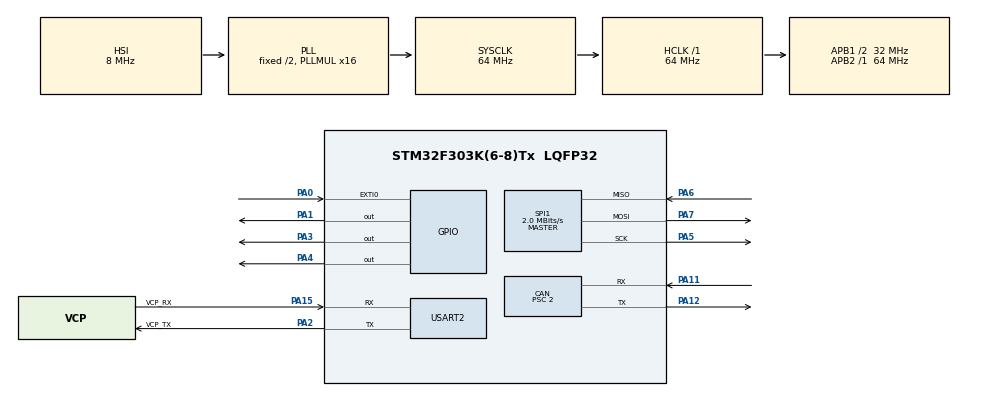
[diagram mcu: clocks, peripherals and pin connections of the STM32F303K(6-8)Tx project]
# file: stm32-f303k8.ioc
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CAN.ABOM=ENABLE
CAN.BS1=CAN_BS1_13TQ
CAN.BS2=CAN_BS2_2TQ
CAN.CalculateBaudRate=1000000
CAN.CalculateTimeBit=1000
CAN.CalculateTimeQuantum=62.5
CAN.Mode=CAN_MODE_NORMAL
CAN.NART=ENABLE
CAN.Prescaler=2
Dma.Request0=SPI1_RX
Dma.SPI1_RX.0.Direction=DMA_PERIPH_TO_MEMORY
Dma.SPI1_RX.0.Instance=DMA1_Channel2
Dma.SPI1_RX.0.MemDataAlignment=DMA_MDATAALIGN_BYTE
Dma.SPI1_RX.0.MemInc=DMA_MINC_ENABLE
Dma.SPI1_RX.0.Mode=DMA_NORMAL
Dma.SPI1_RX.0.PeriphDataAlignment=DMA_PDATAALIGN_BYTE
Dma.SPI1_RX.0.PeriphInc=DMA_PINC_DISABLE
Dma.SPI1_RX.0.Priority=DMA_PRIORITY_HIGH
Mcu.Family=STM32F3
Mcu.Name=STM32F303K(6-8)Tx
Mcu.Package=LQFP32
NVIC.DMA1_Channel2_IRQn=true\:0\:0\:false\:false\:true\:false\:true\:true
NVIC.PriorityGroup=NVIC_PRIORITYGROUP_4
NVIC.SPI1_IRQn=true\:0\:0\:false\:false\:true\:true\:true\:true
PA0.GPIO_ModeDefaultEXTI=GPIO_MODE_IT_FALLING
PA0.Signal=GPXTI0
PA1.Signal=GPIO_Output
PA11.Mode=CAN_Activate
PA11.Signal=CAN_RX
PA12.Mode=CAN_Activate
PA12.Signal=CAN_TX
PA13.GPIO_Label=SWDIO
PA13.Mode=Serial_Wire
PA13.Signal=SYS_JTMS-SWDIO
PA14.GPIO_Label=SWCLK
PA14.Mode=Serial_Wire
PA14.Signal=SYS_JTCK-SWCLK
PA15.GPIO_Label=VCP_RX
PA15.Mode=Asynchronous
PA15.Signal=USART2_RX
PA2.GPIO_Label=VCP_TX
PA2.Mode=Asynchronous
PA2.Signal=USART2_TX
PA3.Signal=GPIO_Output
PA4.Signal=GPIO_Output
PA5.Mode=Full_Duplex_Master
PA5.Signal=SPI1_SCK
PA6.Mode=Full_Duplex_Master
PA6.Signal=SPI1_MISO
PA7.Mode=Full_Duplex_Master
PA7.Signal=SPI1_MOSI
PF0\ /\ OSC_IN.GPIO_Label=MCO
PF0\ /\ OSC_IN.Mode=HSE-External-Clock-Source
PF0\ /\ OSC_IN.Signal=RCC_OSC_IN
ProjectManager.HeapSize=0x200
ProjectManager.StackSize=0x400
ProjectManager.TargetToolchain=STM32CubeIDE
RCC.AHBFreq_Value=64000000
RCC.APB1CLKDivider=RCC_HCLK_DIV2
RCC.APB1Freq_Value=32000000
RCC.APB1TimFreq_Value=64000000
RCC.APB2Freq_Value=64000000
RCC.APB2TimFreq_Value=64000000
RCC.CortexFreq_Value=64000000
RCC.HCLKFreq_Value=64000000
RCC.HSI_VALUE=8000000
RCC.PLLMUL=RCC_PLL_MUL16
RCC.SYSCLKFreq_VALUE=64000000
RCC.SYSCLKSourceVirtual=RCC_SYSCLKSOURCE_PLLCLK
SPI1.BaudRatePrescaler=SPI_BAUDRATEPRESCALER_32
SPI1.CLKPhase=SPI_PHASE_2EDGE
SPI1.CLKPolarity=SPI_POLARITY_HIGH
SPI1.CalculateBaudRate=2.0 MBits/s
SPI1.DataSize=SPI_DATASIZE_8BIT
SPI1.Direction=SPI_DIRECTION_2LINES
SPI1.Mode=SPI_MODE_MASTER
SPI1.VirtualType=VM_MASTER
USART2.VirtualMode-Asynchronous=VM_ASYNC
board=NUCLEO-F303K8

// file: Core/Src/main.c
/* USER CODE BEGIN Header */
/**
  ******************************************************************************
  * @file           : main.c
  * @brief          : Main program body
  ******************************************************************************
  * @attention
  *
  * Copyright (c) 2026 STMicroelectronics.
  * All rights reserved.
  *
  * This software is licensed under terms that can be found in the LICENSE file
  * in the root directory of this software component.
  * If no LICENSE file comes with this software, it is provided AS-IS.
  *
  ******************************************************************************
  */
/* USER CODE END Header */
#include "main.h"

/* USER CODE BEGIN Includes */

#include <stdio.h>
#include <string.h>
#include <stdbool.h>

#include "bno08x.h"
#include "bno085_can.h"
#include "can.h"
#include "dma.h"

/* USER CODE END Includes */

CAN_HandleTypeDef hcan;

SPI_HandleTypeDef hspi1;
DMA_HandleTypeDef hdma_spi1_rx;
DMA_HandleTypeDef hdma_spi1_tx;

UART_HandleTypeDef huart2;

/* USER CODE BEGIN PV */
volatile bool bno_data_ready = false;
volatile bool bno_initialized = false;
/* USER CODE END PV */

void SystemClock_Config(void);
static void MX_GPIO_Init(void);
static void MX_DMA_Init(void);
static void MX_CAN_Init(void);
static void MX_SPI1_Init(void);
static void MX_USART2_UART_Init(void);
/* USER CODE BEGIN PFP */
//static void CAN_LoopbackTest(void);
/* USER CODE END PFP */

/* USER CODE BEGIN 0 */

static sh2_SensorValue_t sensor_value;
static sh2_SensorValue_t last_accel;
static sh2_SensorValue_t last_gyro;

/* ===== CANループバックテスト設定 ===== */
// #define CAN_TEST_STD_ID     0x100U   /* 送信CAN ID (DBCのBNO085_GyroZと同一) */
// #define CAN_TEST_DLC        8U       /* データ長 (byte) */
// #define CAN_TEST_DATA_BYTE  0xFFU    /* テストデータ (全バイト0xFF) */
// #define CAN_TEST_PERIOD_MS  1000U    /* whileループ内で再送する間隔 (ms) */
// #define CAN_TEST_PERIODIC   1        /* 1: 周期送信も行う / 0: 起動時1回のみ */

/* USER CODE END 0 */

int main(void)
{

  /* MCU Configuration--------------------------------------------------------*/

  /* Reset of all peripherals, Initializes the Flash interface and the Systick. */
  HAL_Init();

  /* Configure the system clock */
  SystemClock_Config();

  /* Initialize all configured peripherals */
  MX_GPIO_Init();
  MX_DMA_Init();
  MX_CAN_Init();
  MX_SPI1_Init();
  MX_USART2_UART_Init();
  /* USER CODE BEGIN 2 */
  setvbuf(stdout, NULL, _IONBF, 0);
  printf("\r\n========================================\r\n");
  printf("  STM32F303K8 BNO085 Auto-Recovery Test\r\n");
  printf("========================================\r\n");

  /* ---- CAN開始 (フィルタ: 全ID受け入れ, ループバックモード) ---- */
  {
    CAN_FilterTypeDef can_filter = {0};
    can_filter.FilterBank           = 0;
    can_filter.FilterMode           = CAN_FILTERMODE_IDMASK;
    can_filter.FilterScale          = CAN_FILTERSCALE_32BIT;
    can_filter.FilterIdHigh         = 0x0000;
    can_filter.FilterIdLow          = 0x0000;
    can_filter.FilterMaskIdHigh     = 0x0000;   /* マスク0 = すべて通す */
    can_filter.FilterMaskIdLow      = 0x0000;
    can_filter.FilterFIFOAssignment = CAN_RX_FIFO0;
    can_filter.FilterActivation     = ENABLE;
    can_filter.SlaveStartFilterBank = 14;       /* F3はシングルCANなのでダミー値 */

    if (HAL_CAN_ConfigFilter(&hcan, &can_filter) != HAL_OK)
    {
      printf("[ERROR] HAL_CAN_ConfigFilter failed\r\n");
    }
    else if (HAL_CAN_Start(&hcan) != HAL_OK)
    {
      printf("[ERROR] HAL_CAN_Start failed\r\n");
    }
    else
    {
      printf("[OK] CAN started \r\n");
      //CAN_LoopbackTest();   /* 起動時に1回テスト */
    }
  }

  bno_initialized = false;
  bno_dma_set_mode(false);

  printf("Initializing BNO085...\r\n");
  int init_status = bno08x_init();
  if (init_status == 0)
  {
    printf("[OK] BNO085 initialized successfully!\r\n");
    bno08x_enable_report(SH2_ACCELEROMETER, 5000);
    bno08x_enable_report(SH2_GYROSCOPE_CALIBRATED, 5000);

    sh2_SensorConfig_t config;
    memset(&config, 0, sizeof(config));
    sh2_getSensorConfig(SH2_ACCELEROMETER, &config);

    printf("!!!!!!![OK] Accelerometer config: sensitivity=%f, reportInterval_us=%u\r\n", config.changeSensitivity, config.reportInterval_us);

    // 初期化・レポート設定がすべて完了したらDMAモードを有効化する
    bno_initialized = true;
    bno_dma_set_mode(true);
  }
  else
  {
    printf("[WARN] BNO085 init failed (code: %d), will retry in main loop...\r\n", init_status);
  }
  /* USER CODE END 2 */

  /* Infinite loop */
  while (1)
  {

    /* USER CODE BEGIN 3 */

    // 【自動再起処理】初期化できていない場合は1秒おきにリトライする
    if (!bno_initialized)
    {
      static uint32_t last_retry = 0;
      uint32_t now = HAL_GetTick();
      if ((now - last_retry) >= 1000)
      {
        last_retry = now;
        bno_dma_set_mode(false);
        printf("Retrying BNO085 initialization...\r\n");
        int retry_status = bno08x_init();
        if (retry_status == 0)
        {
          printf("[OK] BNO085 Recovered & Initialized!\r\n");
          bno08x_enable_report(SH2_ACCELEROMETER, 5000);
          bno08x_enable_report(SH2_GYROSCOPE_CALIBRATED, 5000);
          printf("[OK] Enabled Accelerometer & Gyroscope reports (5ms)\r\n");
          bno_initialized = true;
          bno_dma_set_mode(true);
        }
        else
        {
          printf("[ERROR] Retry failed (code: %d), will try again in 1s.\r\n", retry_status);
        }
      }
      continue;
    }

    // --- ここからは初期化成功後の通常処理 ---

    if (bno08x_was_reset())
    {
      // printf("[WARN] BNO085 reset detected! Re-enabling reports...\r\n");
      bno_initialized = false;
      bno_dma_set_mode(false);
      bno08x_enable_report(SH2_ACCELEROMETER, 5000);
      bno08x_enable_report(SH2_GYROSCOPE_CALIBRATED, 5000);
      bno_initialized = true;
      bno_dma_set_mode(true);
    }

    // DMA転送がタイムアウトしていた場合はDMAを強制停止してフラグを下ろす
    if (bno_dma_check_timeout(BNO_DMA_TIMEOUT_MS))
    {
      bno_data_ready = false;
    }

    static bool has_accel = false;
    static bool has_gyro = false;

    if (bno_data_ready) {
      // DMA受信完了済みのRAMバッファからイベントをデコードする
      bno_data_ready = false;

      if (bno08x_get_sensor_event(&sensor_value))
      {

        if (sensor_value.sensorId == SH2_ACCELEROMETER)
        {
          last_accel = sensor_value;
          has_accel = true;
        }
        else if (sensor_value.sensorId == SH2_GYROSCOPE_CALIBRATED)
        {
          last_gyro = sensor_value;
          has_gyro = true;
        }
      }
    }

    static uint32_t last_tick = 0;
    uint32_t now = HAL_GetTick();
    if (now - last_tick >= BNO085_CAN_BNO085_DATA_CYCLE_TIME_MS)
    {
      if (!has_accel || !has_gyro)
      {
        // printf("[WARN] Missing sensor data: has_accel=%d has_gyro=%d\r\n", has_accel, has_gyro);
        last_tick = now;
        continue;
      }
      //メールボックスに空きがあるか確認
      if (HAL_CAN_GetTxMailboxesFreeLevel(&hcan) > 0)
      {
        last_tick = now;
        can_send(&last_gyro, &last_accel, &hcan);
          // // [OK] Sent CAN message の printf に TSR と ESR を追加するイメージ
          // printf("[OK] Sent CAN: acc=%u gyr=%u TSR=0x%08lX ESR=0x%08lX\r\n",
          // last_accel.sequence, last_gyro.sequence,
          // hcan.Instance->TSR, hcan.Instance->ESR);
        has_accel = false;
        has_gyro = false;
        //CAN_LoopbackRecieve(&hcan);
      }
      else
      {
        // 送信メールボックスが詰まっている（相手がACKを返していない等）場合の警告
        // printf("[WARN] CAN Tx Mailbox Full!\r\n");
      }
    }
  }
  /* USER CODE END 3 */
}

void SystemClock_Config(void)
{
  RCC_OscInitTypeDef RCC_OscInitStruct = {0};
  RCC_ClkInitTypeDef RCC_ClkInitStruct = {0};

  /** Initializes the RCC Oscillators according to the specified parameters
  * in the RCC_OscInitTypeDef structure.
  */
  RCC_OscInitStruct.OscillatorType = RCC_OSCILLATORTYPE_HSI;
  RCC_OscInitStruct.HSIState = RCC_HSI_ON;
  RCC_OscInitStruct.HSICalibrationValue = RCC_HSICALIBRATION_DEFAULT;
  RCC_OscInitStruct.PLL.PLLState = RCC_PLL_ON;
  RCC_OscInitStruct.PLL.PLLSource = RCC_PLLSOURCE_HSI;
  RCC_OscInitStruct.PLL.PLLMUL = RCC_PLL_MUL16;
  if (HAL_RCC_OscConfig(&RCC_OscInitStruct) != HAL_OK)
  {
    Error_Handler();
  }

  /** Initializes the CPU, AHB and APB buses clocks
  */
  RCC_ClkInitStruct.ClockType = RCC_CLOCKTYPE_HCLK|RCC_CLOCKTYPE_SYSCLK
                              |RCC_CLOCKTYPE_PCLK1|RCC_CLOCKTYPE_PCLK2;
  RCC_ClkInitStruct.SYSCLKSource = RCC_SYSCLKSOURCE_PLLCLK;
  RCC_ClkInitStruct.AHBCLKDivider = RCC_SYSCLK_DIV1;
  RCC_ClkInitStruct.APB1CLKDivider = RCC_HCLK_DIV2;
  RCC_ClkInitStruct.APB2CLKDivider = RCC_HCLK_DIV1;

  if (HAL_RCC_ClockConfig(&RCC_ClkInitStruct, FLASH_LATENCY_2) != HAL_OK)
  {
    Error_Handler();
  }
}

static void MX_CAN_Init(void)
{

  hcan.Instance = CAN;
  hcan.Init.Prescaler = 2;
  hcan.Init.Mode = CAN_MODE_NORMAL;
  hcan.Init.SyncJumpWidth = CAN_SJW_1TQ;
  hcan.Init.TimeSeg1 = CAN_BS1_13TQ;
  hcan.Init.TimeSeg2 = CAN_BS2_2TQ;
  hcan.Init.TimeTriggeredMode = DISABLE;
  hcan.Init.AutoBusOff = ENABLE;
  hcan.Init.AutoWakeUp = DISABLE;
  hcan.Init.AutoRetransmission = ENABLE;
  hcan.Init.ReceiveFifoLocked = DISABLE;
  hcan.Init.TransmitFifoPriority = DISABLE;
  if (HAL_CAN_Init(&hcan) != HAL_OK)
  {
    Error_Handler();
  }

}

static void MX_SPI1_Init(void)
{

  /* SPI1 parameter configuration*/
  hspi1.Instance = SPI1;
  hspi1.Init.Mode = SPI_MODE_MASTER;
  hspi1.Init.Direction = SPI_DIRECTION_2LINES;
  hspi1.Init.DataSize = SPI_DATASIZE_8BIT;
  hspi1.Init.CLKPolarity = SPI_POLARITY_HIGH;
  hspi1.Init.CLKPhase = SPI_PHASE_2EDGE;
  hspi1.Init.NSS = SPI_NSS_SOFT;
  hspi1.Init.BaudRatePrescaler = SPI_BAUDRATEPRESCALER_32;
  hspi1.Init.FirstBit = SPI_FIRSTBIT_MSB;
  hspi1.Init.TIMode = SPI_TIMODE_DISABLE;
  hspi1.Init.CRCCalculation = SPI_CRCCALCULATION_DISABLE;
  hspi1.Init.CRCPolynomial = 7;
  hspi1.Init.CRCLength = SPI_CRC_LENGTH_DATASIZE;
  hspi1.Init.NSSPMode = SPI_NSS_PULSE_DISABLE;
  if (HAL_SPI_Init(&hspi1) != HAL_OK)
  {
    Error_Handler();
  }

}

static void MX_USART2_UART_Init(void)
{

  huart2.Instance = USART2;
  huart2.Init.BaudRate = 38400;
  huart2.Init.WordLength = UART_WORDLENGTH_8B;
  huart2.Init.StopBits = UART_STOPBITS_1;
  huart2.Init.Parity = UART_PARITY_NONE;
  huart2.Init.Mode = UART_MODE_TX_RX;
  huart2.Init.HwFlowCtl = UART_HWCONTROL_NONE;
  huart2.Init.OverSampling = UART_OVERSAMPLING_16;
  huart2.Init.OneBitSampling = UART_ONE_BIT_SAMPLE_DISABLE;
  huart2.AdvancedInit.AdvFeatureInit = UART_ADVFEATURE_NO_INIT;
  if (HAL_UART_Init(&huart2) != HAL_OK)
  {
    Error_Handler();
  }

}

static void MX_DMA_Init(void)
{

  /* DMA controller clock enable */
  __HAL_RCC_DMA1_CLK_ENABLE();

  /* DMA interrupt init */
  /* DMA1_Channel2_IRQn interrupt configuration */
  HAL_NVIC_SetPriority(DMA1_Channel2_IRQn, 0, 0);
  HAL_NVIC_EnableIRQ(DMA1_Channel2_IRQn);
  /* DMA1_Channel3_IRQn interrupt configuration */
  HAL_NVIC_SetPriority(DMA1_Channel3_IRQn, 0, 0);
  HAL_NVIC_EnableIRQ(DMA1_Channel3_IRQn);

}

static void MX_GPIO_Init(void)
{
  GPIO_InitTypeDef GPIO_InitStruct = {0};

  /* GPIO Ports Clock Enable */
  __HAL_RCC_GPIOF_CLK_ENABLE();
  __HAL_RCC_GPIOA_CLK_ENABLE();

  /*Configure GPIO pin Output Level */
  HAL_GPIO_WritePin(GPIOA, GPIO_PIN_1|GPIO_PIN_3|GPIO_PIN_4, GPIO_PIN_RESET);

  /*Configure GPIO pin : PA0 */
  GPIO_InitStruct.Pin = GPIO_PIN_0;
  GPIO_InitStruct.Mode = GPIO_MODE_IT_FALLING;
  GPIO_InitStruct.Pull = GPIO_NOPULL;
  HAL_GPIO_Init(GPIOA, &GPIO_InitStruct);

  /*Configure GPIO pins : PA1 PA3 PA4 */
  GPIO_InitStruct.Pin = GPIO_PIN_1|GPIO_PIN_3|GPIO_PIN_4;
  GPIO_InitStruct.Mode = GPIO_MODE_OUTPUT_PP;
  GPIO_InitStruct.Pull = GPIO_NOPULL;
  GPIO_InitStruct.Speed = GPIO_SPEED_FREQ_LOW;
  HAL_GPIO_Init(GPIOA, &GPIO_InitStruct);

  /* USER CODE BEGIN MX_GPIO_Init_2 */
  /* EXTI0 interrupt init for H_INTN */
  HAL_NVIC_SetPriority(EXTI0_IRQn, 5, 0);
  HAL_NVIC_EnableIRQ(EXTI0_IRQn);
  /* USER CODE END MX_GPIO_Init_2 */
}

/* USER CODE BEGIN 4 */
int __io_putchar(int ch)
{
  if (ch == '\n')
  {
    uint8_t cr = '\r';
    HAL_UART_Transmit(&huart2, &cr, 1, 10);
  }
  HAL_UART_Transmit(&huart2, (uint8_t *)&ch, 1, 10);
  return ch;
}

void HAL_GPIO_EXTI_Callback(uint16_t GPIO_Pin)
{
  if (GPIO_Pin == GPIO_PIN_0)
  {
    // 初期化完了後はEXTI割り込みの段階で1段階DMA受信を開始する
    if (bno_initialized)
    {
      bno_dma_start();
    }
  }
}

void HAL_SPI_TxRxCpltCallback(SPI_HandleTypeDef *hspi)
{
  if (hspi->Instance == SPI1)
  {
    // DMA受信完了: CSをHIGHに戻し、メインループにデータ準備完了を通知する
    bno_dma_finish();
    bno_data_ready = true;
  }
}

void HAL_SPI_ErrorCallback(SPI_HandleTypeDef *hspi)
{
  if (hspi->Instance == SPI1)
  {
    // SPI DMAエラー発生時はDMAを強制停止してフラグを下ろす
    bno_dma_abort();
    bno_data_ready = false;
  }
}
/* USER CODE END 4 */

void Error_Handler(void)
{
  __disable_irq();
  while (1)
  {
  }
}
